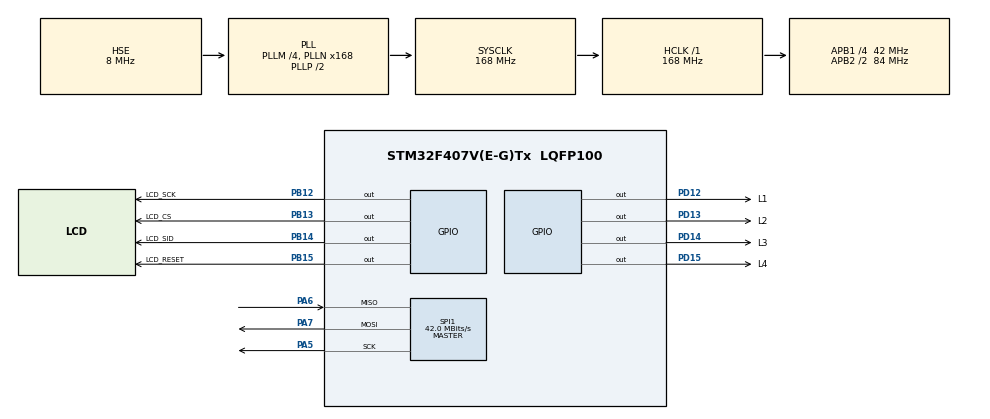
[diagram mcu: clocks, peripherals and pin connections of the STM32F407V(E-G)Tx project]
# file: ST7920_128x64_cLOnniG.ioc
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Mcu.Family=STM32F4
Mcu.Name=STM32F407V(E-G)Tx
Mcu.Package=LQFP100
NVIC.PriorityGroup=NVIC_PRIORITYGROUP_4
PA13.Mode=Serial_Wire
PA13.Signal=SYS_JTMS-SWDIO
PA14.Mode=Serial_Wire
PA14.Signal=SYS_JTCK-SWCLK
PA5.Mode=Full_Duplex_Master
PA5.Signal=SPI1_SCK
PA6.Mode=Full_Duplex_Master
PA6.Signal=SPI1_MISO
PA7.Mode=Full_Duplex_Master
PA7.Signal=SPI1_MOSI
PB12.GPIO_Label=LCD_SCK
PB12.Signal=GPIO_Output
PB13.GPIO_Label=LCD_CS
PB13.Signal=GPIO_Output
PB14.GPIO_Label=LCD_SID
PB14.Signal=GPIO_Output
PB15.GPIO_Label=LCD_RESET
PB15.Signal=GPIO_Output
PD12.GPIO_Label=L1
PD12.Signal=GPIO_Output
PD13.GPIO_Label=L2
PD13.Signal=GPIO_Output
PD14.GPIO_Label=L3
PD14.Signal=GPIO_Output
PD15.GPIO_Label=L4
PD15.Signal=GPIO_Output
PH0-OSC_IN.Mode=HSE-External-Oscillator
PH0-OSC_IN.Signal=RCC_OSC_IN
PH1-OSC_OUT.Mode=HSE-External-Oscillator
PH1-OSC_OUT.Signal=RCC_OSC_OUT
ProjectManager.HeapSize=0x200
ProjectManager.StackSize=0x400
ProjectManager.TargetToolchain=MDK-ARM V5.27
RCC.48MHZClocksFreq_Value=84000000
RCC.AHBFreq_Value=168000000
RCC.APB1CLKDivider=RCC_HCLK_DIV4
RCC.APB1Freq_Value=42000000
RCC.APB1TimFreq_Value=84000000
RCC.APB2CLKDivider=RCC_HCLK_DIV2
RCC.APB2Freq_Value=84000000
RCC.APB2TimFreq_Value=168000000
RCC.CortexFreq_Value=168000000
RCC.HCLKFreq_Value=168000000
RCC.HSE_VALUE=8000000
RCC.HSI_VALUE=16000000
RCC.LSE_VALUE=32768
RCC.PLLM=4
RCC.PLLN=168
RCC.PLLSourceVirtual=RCC_PLLSOURCE_HSE
RCC.SYSCLKFreq_VALUE=168000000
RCC.SYSCLKSource=RCC_SYSCLKSOURCE_PLLCLK
RCC.VCOOutputFreq_Value=336000000
SPI1.CalculateBaudRate=42.0 MBits/s
SPI1.Direction=SPI_DIRECTION_2LINES
SPI1.Mode=SPI_MODE_MASTER
SPI1.VirtualType=VM_MASTER
VP_TIM1_VS_ClockSourceINT.Mode=Internal
board=custom

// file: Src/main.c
/* USER CODE BEGIN Header */
/**
  ******************************************************************************
  * @file           : main.c
  * @brief          : Main program body
  ******************************************************************************
  * @attention
  *
  * <h2><center>&copy; Copyright (c) 2020 STMicroelectronics.
  * All rights reserved.</center></h2>
  *
  * This software component is licensed by ST under BSD 3-Clause license,
  * the "License"; You may not use this file except in compliance with the
  * License. You may obtain a copy of the License at:
  *                        opensource.org/licenses/BSD-3-Clause
  *
  ******************************************************************************
  */
/* USER CODE END Header */

#include "main.h"

/* USER CODE BEGIN Includes */
#include "ST7920_SERIAL.h"
#include "MY_ILI9341.h"
#include "bitmap.h"
#include "GLCD_MY.h"
/* USER CODE END Includes */

SPI_HandleTypeDef hspi1;

TIM_HandleTypeDef htim1;

void SystemClock_Config(void);
static void MX_GPIO_Init(void);
static void MX_SPI1_Init(void);
static void MX_TIM1_Init(void);

/* USER CODE BEGIN 0 */
char loj[8]="abcde231";
/* USER CODE END 0 */

int main(void)
{

  /* MCU Configuration--------------------------------------------------------*/

  /* Reset of all peripherals, Initializes the Flash interface and the Systick. */
  HAL_Init();

  /* Configure the system clock */
  SystemClock_Config();

  /* Initialize all configured peripherals */
  MX_GPIO_Init();
  MX_SPI1_Init();
  MX_TIM1_Init();
  /* USER CODE BEGIN 2 */
	GLCD_Init(&hspi1, LCD_CS_GPIO_Port, LCD_CS_Pin);
	HAL_Delay(100);
	HAL_GPIO_WritePin(GPIOD, L2_Pin, GPIO_PIN_SET);
	GLCD_print("deneme", 0x92);
	HAL_Delay(1000);
	HAL_GPIO_WritePin(GPIOD, L2_Pin, GPIO_PIN_RESET);
	HAL_Delay(1000);
  /* USER CODE END 2 */

  /* Infinite loop */
  while (1)
  {

    /* USER CODE BEGIN 3 */
		HAL_GPIO_WritePin(GPIOD, L3_Pin, GPIO_PIN_SET);
		GLCD_print("deneme", 0x90);
		HAL_Delay(1000);
		GLCD_clear();
		GLCD_LightPixel(50,50);
		HAL_Delay(1000);
		GLCD_clear();
		GLCD_printText(loj, 1, 0);
		HAL_Delay(1000);
		HAL_GPIO_WritePin(GPIOD, L3_Pin, GPIO_PIN_RESET);
		HAL_Delay(1000);
  }
  /* USER CODE END 3 */
}

void SystemClock_Config(void)
{
  RCC_OscInitTypeDef RCC_OscInitStruct = {0};
  RCC_ClkInitTypeDef RCC_ClkInitStruct = {0};

  /** Configure the main internal regulator output voltage
  */
  __HAL_RCC_PWR_CLK_ENABLE();
  __HAL_PWR_VOLTAGESCALING_CONFIG(PWR_REGULATOR_VOLTAGE_SCALE1);
  /** Initializes the CPU, AHB and APB busses clocks
  */
  RCC_OscInitStruct.OscillatorType = RCC_OSCILLATORTYPE_HSE;
  RCC_OscInitStruct.HSEState = RCC_HSE_ON;
  RCC_OscInitStruct.PLL.PLLState = RCC_PLL_ON;
  RCC_OscInitStruct.PLL.PLLSource = RCC_PLLSOURCE_HSE;
  RCC_OscInitStruct.PLL.PLLM = 4;
  RCC_OscInitStruct.PLL.PLLN = 168;
  RCC_OscInitStruct.PLL.PLLP = RCC_PLLP_DIV2;
  RCC_OscInitStruct.PLL.PLLQ = 4;
  if (HAL_RCC_OscConfig(&RCC_OscInitStruct) != HAL_OK)
  {
    Error_Handler();
  }
  /** Initializes the CPU, AHB and APB busses clocks
  */
  RCC_ClkInitStruct.ClockType = RCC_CLOCKTYPE_HCLK|RCC_CLOCKTYPE_SYSCLK
                              |RCC_CLOCKTYPE_PCLK1|RCC_CLOCKTYPE_PCLK2;
  RCC_ClkInitStruct.SYSCLKSource = RCC_SYSCLKSOURCE_PLLCLK;
  RCC_ClkInitStruct.AHBCLKDivider = RCC_SYSCLK_DIV1;
  RCC_ClkInitStruct.APB1CLKDivider = RCC_HCLK_DIV4;
  RCC_ClkInitStruct.APB2CLKDivider = RCC_HCLK_DIV2;

  if (HAL_RCC_ClockConfig(&RCC_ClkInitStruct, FLASH_LATENCY_5) != HAL_OK)
  {
    Error_Handler();
  }
}

static void MX_SPI1_Init(void)
{

  /* SPI1 parameter configuration*/
  hspi1.Instance = SPI1;
  hspi1.Init.Mode = SPI_MODE_MASTER;
  hspi1.Init.Direction = SPI_DIRECTION_2LINES;
  hspi1.Init.DataSize = SPI_DATASIZE_8BIT;
  hspi1.Init.CLKPolarity = SPI_POLARITY_LOW;
  hspi1.Init.CLKPhase = SPI_PHASE_1EDGE;
  hspi1.Init.NSS = SPI_NSS_SOFT;
  hspi1.Init.BaudRatePrescaler = SPI_BAUDRATEPRESCALER_2;
  hspi1.Init.FirstBit = SPI_FIRSTBIT_MSB;
  hspi1.Init.TIMode = SPI_TIMODE_DISABLE;
  hspi1.Init.CRCCalculation = SPI_CRCCALCULATION_DISABLE;
  hspi1.Init.CRCPolynomial = 10;
  if (HAL_SPI_Init(&hspi1) != HAL_OK)
  {
    Error_Handler();
  }

}

static void MX_TIM1_Init(void)
{

  TIM_ClockConfigTypeDef sClockSourceConfig = {0};
  TIM_MasterConfigTypeDef sMasterConfig = {0};

  htim1.Instance = TIM1;
  htim1.Init.Prescaler = 0;
  htim1.Init.CounterMode = TIM_COUNTERMODE_UP;
  htim1.Init.Period = 0;
  htim1.Init.ClockDivision = TIM_CLOCKDIVISION_DIV1;
  htim1.Init.RepetitionCounter = 0;
  htim1.Init.AutoReloadPreload = TIM_AUTORELOAD_PRELOAD_DISABLE;
  if (HAL_TIM_Base_Init(&htim1) != HAL_OK)
  {
    Error_Handler();
  }
  sClockSourceConfig.ClockSource = TIM_CLOCKSOURCE_INTERNAL;
  if (HAL_TIM_ConfigClockSource(&htim1, &sClockSourceConfig) != HAL_OK)
  {
    Error_Handler();
  }
  sMasterConfig.MasterOutputTrigger = TIM_TRGO_RESET;
  sMasterConfig.MasterSlaveMode = TIM_MASTERSLAVEMODE_DISABLE;
  if (HAL_TIMEx_MasterConfigSynchronization(&htim1, &sMasterConfig) != HAL_OK)
  {
    Error_Handler();
  }

}

static void MX_GPIO_Init(void)
{
  GPIO_InitTypeDef GPIO_InitStruct = {0};

  /* GPIO Ports Clock Enable */
  __HAL_RCC_GPIOH_CLK_ENABLE();
  __HAL_RCC_GPIOA_CLK_ENABLE();
  __HAL_RCC_GPIOB_CLK_ENABLE();
  __HAL_RCC_GPIOD_CLK_ENABLE();

  /*Configure GPIO pin Output Level */
  HAL_GPIO_WritePin(GPIOB, LCD_SCK_Pin|LCD_CS_Pin|LCD_SID_Pin|LCD_RESET_Pin, GPIO_PIN_RESET);

  /*Configure GPIO pin Output Level */
  HAL_GPIO_WritePin(GPIOD, L1_Pin|L2_Pin|L3_Pin|L4_Pin, GPIO_PIN_RESET);

  /*Configure GPIO pins : LCD_SCK_Pin LCD_CS_Pin LCD_SID_Pin LCD_RESET_Pin */
  GPIO_InitStruct.Pin = LCD_SCK_Pin|LCD_CS_Pin|LCD_SID_Pin|LCD_RESET_Pin;
  GPIO_InitStruct.Mode = GPIO_MODE_OUTPUT_PP;
  GPIO_InitStruct.Pull = GPIO_NOPULL;
  GPIO_InitStruct.Speed = GPIO_SPEED_FREQ_LOW;
  HAL_GPIO_Init(GPIOB, &GPIO_InitStruct);

  /*Configure GPIO pins : L1_Pin L2_Pin L3_Pin L4_Pin */
  GPIO_InitStruct.Pin = L1_Pin|L2_Pin|L3_Pin|L4_Pin;
  GPIO_InitStruct.Mode = GPIO_MODE_OUTPUT_PP;
  GPIO_InitStruct.Pull = GPIO_NOPULL;
  GPIO_InitStruct.Speed = GPIO_SPEED_FREQ_LOW;
  HAL_GPIO_Init(GPIOD, &GPIO_InitStruct);

}

void Error_Handler(void)
{
}

/************************ (C) COPYRIGHT STMicroelectronics *****END OF FILE****/
